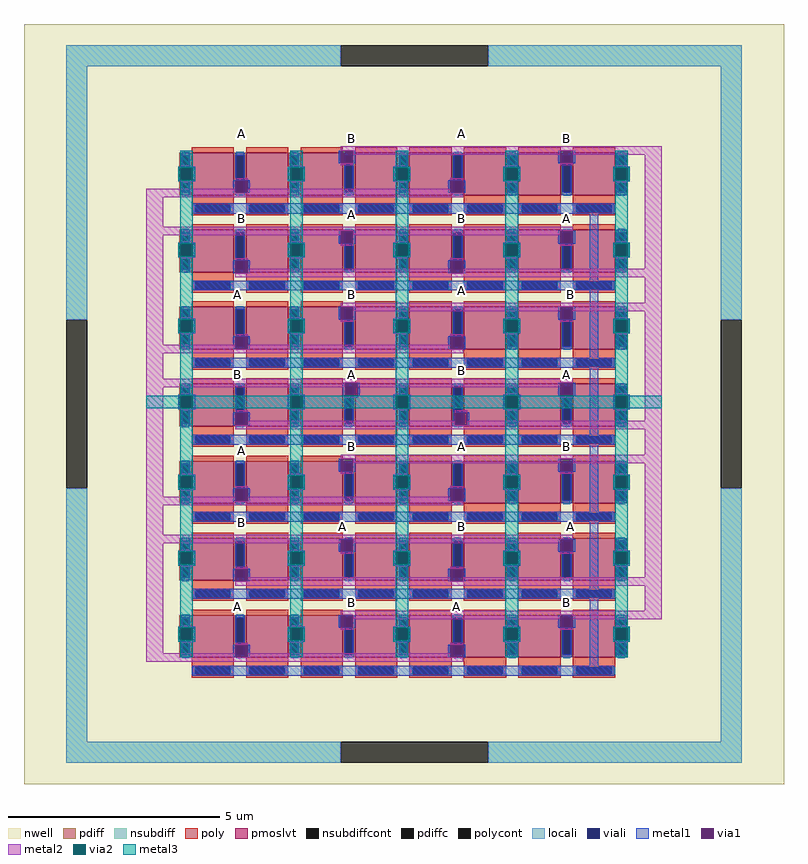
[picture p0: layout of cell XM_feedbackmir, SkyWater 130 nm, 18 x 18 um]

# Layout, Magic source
magic
tech sky130A
magscale 1 2
<< nwell >>
rect -700 -500 2900 3100
<< nsubdiff >>
rect -500 2900 800 3000
rect 1500 2900 2700 3000
rect -500 1700 -400 2900
rect -500 -300 -400 900
rect 2600 1700 2700 2900
rect 2600 -300 2700 900
rect -500 -400 800 -300
rect 1500 -400 2700 -300
<< nsubdiffcont >>
rect 800 2900 1500 3000
rect -500 900 -400 1700
rect 2600 900 2700 1700
rect 800 -400 1500 -300
<< locali >>
rect -500 2900 800 3000
rect 1500 2900 2700 3000
rect -500 1700 -400 2900
rect -500 -300 -400 900
rect 2600 1700 2700 2900
rect 2600 -300 2700 900
rect -500 -400 800 -300
rect 1500 -400 2700 -300
<< metal1 >>
rect 790 2440 800 2500
rect 860 2440 870 2500
rect 1830 2440 1840 2500
rect 1900 2440 1910 2500
rect 30 2360 40 2420
rect 100 2360 110 2420
rect 550 2360 560 2420
rect 620 2360 630 2420
rect 1050 2360 1060 2420
rect 1120 2360 1130 2420
rect 1570 2360 1580 2420
rect 1640 2360 1650 2420
rect 2090 2360 2100 2420
rect 2160 2360 2170 2420
rect 290 2300 300 2360
rect 360 2300 370 2360
rect 1310 2300 1320 2360
rect 1380 2300 1390 2360
rect 98 2202 2096 2250
rect 790 2060 800 2120
rect 860 2060 870 2120
rect 1830 2060 1840 2120
rect 1900 2060 1910 2120
rect 30 2000 40 2060
rect 100 2000 110 2060
rect 550 2000 560 2060
rect 620 2000 630 2060
rect 1050 2000 1060 2060
rect 1120 2000 1130 2060
rect 1570 2000 1580 2060
rect 1640 2000 1650 2060
rect 290 1920 300 1980
rect 360 1920 370 1980
rect 1310 1920 1320 1980
rect 1380 1920 1390 1980
rect 1980 1884 2020 2202
rect 2090 2000 2100 2060
rect 2160 2000 2170 2060
rect 98 1838 2096 1884
rect 790 1700 800 1760
rect 860 1700 870 1760
rect 1830 1700 1840 1760
rect 1900 1700 1910 1760
rect 30 1640 40 1700
rect 100 1640 110 1700
rect 550 1640 560 1700
rect 620 1640 630 1700
rect 1050 1640 1060 1700
rect 1120 1640 1130 1700
rect 1570 1640 1580 1700
rect 1640 1640 1650 1700
rect 290 1560 300 1620
rect 360 1560 370 1620
rect 1310 1560 1320 1620
rect 1380 1560 1390 1620
rect 1980 1520 2020 1838
rect 2090 1640 2100 1700
rect 2160 1640 2170 1700
rect 98 1472 2096 1520
rect 810 1340 820 1400
rect 880 1340 890 1400
rect 1830 1340 1840 1400
rect 1900 1340 1910 1400
rect 30 1280 40 1340
rect 100 1280 110 1340
rect 550 1280 560 1340
rect 620 1280 630 1340
rect 1050 1280 1060 1340
rect 1120 1280 1130 1340
rect 1570 1280 1580 1340
rect 1640 1280 1650 1340
rect 290 1200 300 1260
rect 360 1200 370 1260
rect 1330 1200 1340 1260
rect 1400 1200 1410 1260
rect 1980 1154 2020 1472
rect 2090 1280 2100 1340
rect 2160 1280 2170 1340
rect 98 1108 2096 1154
rect 790 980 800 1040
rect 860 980 870 1040
rect 1830 980 1840 1040
rect 1900 980 1910 1040
rect 30 900 40 960
rect 100 900 110 960
rect 550 900 560 960
rect 620 900 630 960
rect 1050 900 1060 960
rect 1120 900 1130 960
rect 1570 900 1580 960
rect 1640 900 1650 960
rect 290 840 300 900
rect 360 840 370 900
rect 1310 840 1320 900
rect 1380 840 1390 900
rect 1980 790 2020 1108
rect 2090 900 2100 960
rect 2160 900 2170 960
rect 98 742 2096 790
rect 790 600 800 660
rect 860 600 870 660
rect 1830 600 1840 660
rect 1900 600 1910 660
rect 30 540 40 600
rect 100 540 110 600
rect 550 540 560 600
rect 620 540 630 600
rect 1050 540 1060 600
rect 1120 540 1130 600
rect 1570 540 1580 600
rect 1640 540 1650 600
rect 290 460 300 520
rect 360 460 370 520
rect 1310 460 1320 520
rect 1380 460 1390 520
rect 1980 424 2020 742
rect 2090 540 2100 600
rect 2160 540 2170 600
rect 98 378 2096 424
rect 790 240 800 300
rect 860 240 870 300
rect 1830 240 1840 300
rect 1900 240 1910 300
rect 30 180 40 240
rect 100 180 110 240
rect 550 180 560 240
rect 620 180 630 240
rect 1050 180 1060 240
rect 1120 180 1130 240
rect 1570 180 1580 240
rect 1640 180 1650 240
rect 290 100 300 160
rect 360 100 370 160
rect 1310 100 1320 160
rect 1380 100 1390 160
rect 1980 60 2020 378
rect 2090 180 2100 240
rect 2160 180 2170 240
rect 98 12 2096 60
<< via1 >>
rect 800 2440 860 2500
rect 1840 2440 1900 2500
rect 40 2360 100 2420
rect 560 2360 620 2420
rect 1060 2360 1120 2420
rect 1580 2360 1640 2420
rect 2100 2360 2160 2420
rect 300 2300 360 2360
rect 1320 2300 1380 2360
rect 800 2060 860 2120
rect 1840 2060 1900 2120
rect 40 2000 100 2060
rect 560 2000 620 2060
rect 1060 2000 1120 2060
rect 1580 2000 1640 2060
rect 300 1920 360 1980
rect 1320 1920 1380 1980
rect 2100 2000 2160 2060
rect 800 1700 860 1760
rect 1840 1700 1900 1760
rect 40 1640 100 1700
rect 560 1640 620 1700
rect 1060 1640 1120 1700
rect 1580 1640 1640 1700
rect 300 1560 360 1620
rect 1320 1560 1380 1620
rect 2100 1640 2160 1700
rect 820 1340 880 1400
rect 1840 1340 1900 1400
rect 40 1280 100 1340
rect 560 1280 620 1340
rect 1060 1280 1120 1340
rect 1580 1280 1640 1340
rect 300 1200 360 1260
rect 1340 1200 1400 1260
rect 2100 1280 2160 1340
rect 800 980 860 1040
rect 1840 980 1900 1040
rect 40 900 100 960
rect 560 900 620 960
rect 1060 900 1120 960
rect 1580 900 1640 960
rect 300 840 360 900
rect 1320 840 1380 900
rect 2100 900 2160 960
rect 800 600 860 660
rect 1840 600 1900 660
rect 40 540 100 600
rect 560 540 620 600
rect 1060 540 1120 600
rect 1580 540 1640 600
rect 300 460 360 520
rect 1320 460 1380 520
rect 2100 540 2160 600
rect 800 240 860 300
rect 1840 240 1900 300
rect 40 180 100 240
rect 560 180 620 240
rect 1060 180 1120 240
rect 1580 180 1640 240
rect 300 100 360 160
rect 1320 100 1380 160
rect 2100 180 2160 240
<< metal2 >>
rect 800 2500 2320 2520
rect 860 2480 1840 2500
rect 800 2430 860 2440
rect 1900 2480 2320 2500
rect 1840 2430 1900 2440
rect 40 2420 100 2430
rect 560 2420 620 2430
rect 40 2350 100 2360
rect 300 2360 360 2370
rect -120 2300 300 2320
rect 560 2350 620 2360
rect 1060 2420 1120 2430
rect 1580 2420 1640 2430
rect 1060 2350 1120 2360
rect 1320 2360 1380 2370
rect 360 2300 1320 2320
rect 1580 2350 1640 2360
rect 2100 2420 2160 2430
rect 2100 2350 2160 2360
rect -120 2280 1380 2300
rect -120 2140 -40 2280
rect -120 2120 1900 2140
rect -120 2100 800 2120
rect -120 1580 -40 2100
rect 40 2060 100 2070
rect 40 1990 100 2000
rect 560 2060 620 2070
rect 860 2100 1840 2120
rect 800 2050 860 2060
rect 1060 2060 1120 2070
rect 560 1990 620 2000
rect 1060 1990 1120 2000
rect 1580 2060 1640 2070
rect 1840 2050 1900 2060
rect 2100 2060 2160 2070
rect 1580 1990 1640 2000
rect 2100 1990 2160 2000
rect 300 1980 360 1990
rect 1320 1980 1380 1990
rect 360 1920 1320 1940
rect 2240 1940 2320 2480
rect 1380 1920 2320 1940
rect 300 1900 2320 1920
rect 2240 1780 2320 1900
rect 800 1760 2320 1780
rect 40 1700 100 1710
rect 40 1630 100 1640
rect 560 1700 620 1710
rect 860 1740 1840 1760
rect 800 1690 860 1700
rect 1060 1700 1120 1710
rect 560 1630 620 1640
rect 1060 1630 1120 1640
rect 1580 1700 1640 1710
rect 1900 1740 2320 1760
rect 1840 1690 1900 1700
rect 2100 1700 2160 1710
rect 1580 1630 1640 1640
rect 2100 1630 2160 1640
rect 300 1620 360 1630
rect -120 1560 300 1580
rect 1320 1620 1380 1630
rect 360 1560 1320 1580
rect -120 1540 1380 1560
rect -120 1420 -40 1540
rect -120 1400 1900 1420
rect -120 1380 820 1400
rect -120 860 -40 1380
rect 40 1340 100 1350
rect 40 1270 100 1280
rect 560 1340 620 1350
rect 880 1380 1840 1400
rect 820 1330 880 1340
rect 1060 1340 1120 1350
rect 560 1270 620 1280
rect 1060 1270 1120 1280
rect 1580 1340 1640 1350
rect 1840 1330 1900 1340
rect 2100 1340 2160 1350
rect 1580 1270 1640 1280
rect 2100 1270 2160 1280
rect 300 1260 360 1270
rect 1340 1260 1400 1270
rect 360 1200 1340 1220
rect 2240 1220 2320 1740
rect 1400 1200 2320 1220
rect 300 1180 2320 1200
rect 2240 1060 2320 1180
rect 800 1040 2320 1060
rect 860 1020 1840 1040
rect 800 970 860 980
rect 1900 1020 2320 1040
rect 1840 970 1900 980
rect 40 960 100 970
rect 560 960 620 970
rect 40 890 100 900
rect 300 900 360 910
rect -120 840 300 860
rect 560 890 620 900
rect 1060 960 1120 970
rect 1580 960 1640 970
rect 1060 890 1120 900
rect 1320 900 1380 910
rect 360 840 1320 860
rect 1580 890 1640 900
rect 2100 960 2160 970
rect 2100 890 2160 900
rect -120 820 1380 840
rect -120 680 -40 820
rect -120 660 1900 680
rect -120 640 800 660
rect -120 120 -40 640
rect 40 600 100 610
rect 40 530 100 540
rect 560 600 620 610
rect 860 640 1840 660
rect 800 590 860 600
rect 1060 600 1120 610
rect 560 530 620 540
rect 1060 530 1120 540
rect 1580 600 1640 610
rect 1840 590 1900 600
rect 2100 600 2160 610
rect 1580 530 1640 540
rect 2100 530 2160 540
rect 300 520 360 530
rect 1320 520 1380 530
rect 360 460 1320 480
rect 2240 480 2320 1020
rect 1380 460 2320 480
rect 300 440 2320 460
rect 2240 320 2320 440
rect 800 300 2320 320
rect 40 240 100 250
rect 40 170 100 180
rect 560 240 620 250
rect 860 280 1840 300
rect 800 230 860 240
rect 1060 240 1120 250
rect 560 170 620 180
rect 1060 170 1120 180
rect 1580 240 1640 250
rect 1900 280 2320 300
rect 1840 230 1900 240
rect 2100 240 2160 250
rect 1580 170 1640 180
rect 2100 170 2160 180
rect 300 160 360 170
rect -120 100 300 120
rect 1320 160 1380 170
rect 360 100 1320 120
rect -120 80 1380 100
<< via2 >>
rect 40 2360 100 2420
rect 560 2360 620 2420
rect 1060 2360 1120 2420
rect 1580 2360 1640 2420
rect 2100 2360 2160 2420
rect 40 2000 100 2060
rect 560 2000 620 2060
rect 1060 2000 1120 2060
rect 1580 2000 1640 2060
rect 2100 2000 2160 2060
rect 40 1640 100 1700
rect 560 1640 620 1700
rect 1060 1640 1120 1700
rect 1580 1640 1640 1700
rect 2100 1640 2160 1700
rect 40 1280 100 1340
rect 560 1280 620 1340
rect 1060 1280 1120 1340
rect 1580 1280 1640 1340
rect 2100 1280 2160 1340
rect 40 900 100 960
rect 560 900 620 960
rect 1060 900 1120 960
rect 1580 900 1640 960
rect 2100 900 2160 960
rect 40 540 100 600
rect 560 540 620 600
rect 1060 540 1120 600
rect 1580 540 1640 600
rect 2100 540 2160 600
rect 40 180 100 240
rect 560 180 620 240
rect 1060 180 1120 240
rect 1580 180 1640 240
rect 2100 180 2160 240
<< metal3 >>
rect 40 2425 100 2500
rect 560 2425 620 2500
rect 1060 2425 1120 2500
rect 1580 2425 1640 2500
rect 2100 2425 2160 2500
rect 30 2420 110 2425
rect 30 2360 40 2420
rect 100 2360 110 2420
rect 30 2355 110 2360
rect 550 2420 630 2425
rect 550 2360 560 2420
rect 620 2360 630 2420
rect 550 2355 630 2360
rect 1050 2420 1130 2425
rect 1050 2360 1060 2420
rect 1120 2360 1130 2420
rect 1050 2355 1130 2360
rect 1570 2420 1650 2425
rect 1570 2360 1580 2420
rect 1640 2360 1650 2420
rect 1570 2355 1650 2360
rect 2090 2420 2170 2425
rect 2090 2360 2100 2420
rect 2160 2360 2170 2420
rect 2090 2355 2170 2360
rect 40 2065 100 2355
rect 560 2065 620 2355
rect 1060 2065 1120 2355
rect 1580 2065 1640 2355
rect 2100 2065 2160 2355
rect 30 2060 110 2065
rect 30 2000 40 2060
rect 100 2000 110 2060
rect 30 1995 110 2000
rect 550 2060 630 2065
rect 550 2000 560 2060
rect 620 2000 630 2060
rect 550 1995 630 2000
rect 1050 2060 1130 2065
rect 1050 2000 1060 2060
rect 1120 2000 1130 2060
rect 1050 1995 1130 2000
rect 1570 2060 1650 2065
rect 1570 2000 1580 2060
rect 1640 2000 1650 2060
rect 1570 1995 1650 2000
rect 2090 2060 2170 2065
rect 2090 2000 2100 2060
rect 2160 2000 2170 2060
rect 2090 1995 2170 2000
rect 40 1705 100 1995
rect 560 1705 620 1995
rect 1060 1705 1120 1995
rect 1580 1705 1640 1995
rect 2100 1705 2160 1995
rect 30 1700 110 1705
rect 30 1640 40 1700
rect 100 1640 110 1700
rect 30 1635 110 1640
rect 550 1700 630 1705
rect 550 1640 560 1700
rect 620 1640 630 1700
rect 550 1635 630 1640
rect 1050 1700 1130 1705
rect 1050 1640 1060 1700
rect 1120 1640 1130 1700
rect 1050 1635 1130 1640
rect 1570 1700 1650 1705
rect 1570 1640 1580 1700
rect 1640 1640 1650 1700
rect 1570 1635 1650 1640
rect 2090 1700 2170 1705
rect 2090 1640 2100 1700
rect 2160 1640 2170 1700
rect 2090 1635 2170 1640
rect 40 1345 100 1635
rect 560 1345 620 1635
rect 1060 1345 1120 1635
rect 1580 1345 1640 1635
rect 2100 1345 2160 1635
rect 30 1340 110 1345
rect 550 1340 630 1345
rect 1050 1340 1130 1345
rect 1570 1340 1650 1345
rect 2090 1340 2170 1345
rect -120 1280 40 1340
rect 100 1280 560 1340
rect 620 1280 1060 1340
rect 1120 1280 1580 1340
rect 1640 1280 2100 1340
rect 2160 1280 2320 1340
rect 30 1275 110 1280
rect 550 1275 630 1280
rect 1050 1275 1130 1280
rect 1570 1275 1650 1280
rect 2090 1275 2170 1280
rect 40 965 100 1275
rect 560 965 620 1275
rect 1060 965 1120 1275
rect 1580 965 1640 1275
rect 2100 965 2160 1275
rect 30 960 110 965
rect 30 900 40 960
rect 100 900 110 960
rect 30 895 110 900
rect 550 960 630 965
rect 550 900 560 960
rect 620 900 630 960
rect 550 895 630 900
rect 1050 960 1130 965
rect 1050 900 1060 960
rect 1120 900 1130 960
rect 1050 895 1130 900
rect 1570 960 1650 965
rect 1570 900 1580 960
rect 1640 900 1650 960
rect 1570 895 1650 900
rect 2090 960 2170 965
rect 2090 900 2100 960
rect 2160 900 2170 960
rect 2090 895 2170 900
rect 40 605 100 895
rect 560 605 620 895
rect 1060 605 1120 895
rect 1580 605 1640 895
rect 2100 605 2160 895
rect 30 600 110 605
rect 30 540 40 600
rect 100 540 110 600
rect 30 535 110 540
rect 550 600 630 605
rect 550 540 560 600
rect 620 540 630 600
rect 550 535 630 540
rect 1050 600 1130 605
rect 1050 540 1060 600
rect 1120 540 1130 600
rect 1050 535 1130 540
rect 1570 600 1650 605
rect 1570 540 1580 600
rect 1640 540 1650 600
rect 1570 535 1650 540
rect 2090 600 2170 605
rect 2090 540 2100 600
rect 2160 540 2170 600
rect 2090 535 2170 540
rect 40 245 100 535
rect 560 245 620 535
rect 1060 245 1120 535
rect 1580 245 1640 535
rect 2100 245 2160 535
rect 30 240 110 245
rect 30 180 40 240
rect 100 180 110 240
rect 30 175 110 180
rect 550 240 630 245
rect 550 180 560 240
rect 620 180 630 240
rect 550 175 630 180
rect 1050 240 1130 245
rect 1050 180 1060 240
rect 1120 180 1130 240
rect 1050 175 1130 180
rect 1570 240 1650 245
rect 1570 180 1580 240
rect 1640 180 1650 240
rect 1570 175 1650 180
rect 2090 240 2170 245
rect 2090 180 2100 240
rect 2160 180 2170 240
rect 2090 175 2170 180
rect 40 100 100 175
rect 560 100 620 175
rect 1060 100 1120 175
rect 1580 100 1640 175
rect 2100 100 2160 175
use sky130_fd_pr__pfet_01v8_lvt_8URDWJ  sky130_fd_pr__pfet_01v8_lvt_8URDWJ_0
transform 1 0 1097 0 1 1260
box -1097 -1260 1097 1292
<< labels >>
flabel nwell 300 2540 360 2620 0 FreeSans 800 0 0 0 A
flabel nwell 1340 2540 1400 2620 0 FreeSans 800 0 0 0 A
flabel nwell 820 2160 880 2240 0 FreeSans 800 0 0 0 A
flabel nwell 1840 2140 1900 2220 0 FreeSans 800 0 0 0 A
flabel nwell 280 1780 340 1860 0 FreeSans 800 0 0 0 A
flabel nwell 1340 1800 1400 1880 0 FreeSans 800 0 0 0 A
flabel nwell 820 1400 880 1480 0 FreeSans 800 0 0 0 A
flabel nwell 1840 1400 1900 1480 0 FreeSans 800 0 0 0 A
flabel nwell 300 1040 360 1120 0 FreeSans 800 0 0 0 A
flabel nwell 1340 1060 1400 1140 0 FreeSans 800 0 0 0 A
flabel nwell 780 680 840 760 0 FreeSans 800 0 0 0 A
flabel nwell 1860 680 1920 760 0 FreeSans 800 0 0 0 A
flabel nwell 280 300 340 380 0 FreeSans 800 0 0 0 A
flabel nwell 1320 300 1380 380 0 FreeSans 800 0 0 0 A
flabel nwell 820 2520 880 2600 0 FreeSans 800 0 0 0 B
flabel nwell 1840 2520 1900 2600 0 FreeSans 800 0 0 0 B
flabel nwell 300 2140 360 2220 0 FreeSans 800 0 0 0 B
flabel nwell 1340 2140 1400 2220 0 FreeSans 800 0 0 0 B
flabel nwell 820 1780 880 1860 0 FreeSans 800 0 0 0 B
flabel nwell 1860 1780 1920 1860 0 FreeSans 800 0 0 0 B
flabel nwell 280 1400 340 1480 0 FreeSans 800 0 0 0 B
flabel nwell 1340 1420 1400 1500 0 FreeSans 800 0 0 0 B
flabel nwell 820 1060 880 1140 0 FreeSans 800 0 0 0 B
flabel nwell 1840 1060 1900 1140 0 FreeSans 800 0 0 0 B
flabel nwell 300 700 360 780 0 FreeSans 800 0 0 0 B
flabel nwell 1340 680 1400 760 0 FreeSans 800 0 0 0 B
flabel nwell 820 320 880 400 0 FreeSans 800 0 0 0 B
flabel nwell 1840 320 1900 400 0 FreeSans 800 0 0 0 B
<< end >>

# cell sky130_fd_pr__pfet_01v8_lvt_8URDWJ: kit device sky130_fd_pr__pfet_01v8_lvt, w 1 l 1 m 7 nf 8 diffcov 100 polycov 100 guard 0 glc 1 grc 1 gtc 1 gbc 1 tbcov 100 rlcov 100 topc 0 botc 1 poverlap 0 doverlap 1 lmin 0.35 wmin 0.42 compatible {sky130_fd_pr__pfet_01v8 sky130_fd_pr__pfet_01v8_lvt sky130_fd_pr__pfet_01v8_hvt sky130_fd_pr__pfet_g5v0d10v5} full_metal 0 viasrc 100 viadrn 100 viagate 100 viagb 0 viagr 0 viagl 0 viagt 0
